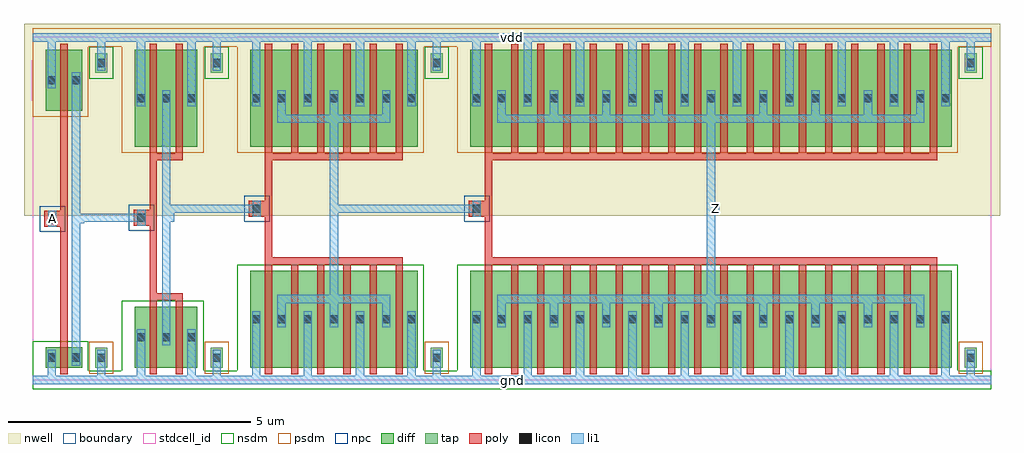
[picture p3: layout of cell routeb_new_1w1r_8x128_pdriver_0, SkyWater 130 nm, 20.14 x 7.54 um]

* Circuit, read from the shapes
.subckt routeb_new_1w1r_8x128_pdriver_0 A Z gnd vdd
XM1 routeb_new_1w1r_8x128_pinv_4_1/A A gnd gnd sky130_fd_pr__nfet_01v8 w=0.42 l=0.15
XM2 routeb_new_1w1r_8x128_pinv_5_2/A routeb_new_1w1r_8x128_pinv_4_1/A gnd gnd sky130_fd_pr__nfet_01v8 w=1.26 l=0.15 m=2
XM3 routeb_new_1w1r_8x128_pinv_6_3/A routeb_new_1w1r_8x128_pinv_5_2/A gnd gnd sky130_fd_pr__nfet_01v8 w=2 l=0.15 m=6
XM4 Z routeb_new_1w1r_8x128_pinv_6_3/A gnd gnd sky130_fd_pr__nfet_01v8 w=2 l=0.15 m=18
XM5 routeb_new_1w1r_8x128_pinv_4_1/A A vdd vdd sky130_fd_pr__pfet_01v8 w=1.26 l=0.15
XM6 routeb_new_1w1r_8x128_pinv_5_2/A routeb_new_1w1r_8x128_pinv_4_1/A vdd vdd sky130_fd_pr__pfet_01v8 w=2 l=0.15 m=2
XM7 routeb_new_1w1r_8x128_pinv_6_3/A routeb_new_1w1r_8x128_pinv_5_2/A vdd vdd sky130_fd_pr__pfet_01v8 w=2 l=0.15 m=6
XM8 Z routeb_new_1w1r_8x128_pinv_6_3/A vdd vdd sky130_fd_pr__pfet_01v8 w=2 l=0.15 m=18
.ends

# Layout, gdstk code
import gdstk
lib = gdstk.Library(unit=1e-6, precision=1e-09)
def R(c, l, rs):  # rectangles x0, y0, x1, y1
    for r in rs: c.add(gdstk.rectangle(r[:2], r[2:], *l))
def A(c, l, x, y, w, h, nx, ny, dx, dy):  # array of equal rectangles
    R(c, l, [(x+i*dx, y+j*dy, x+i*dx+w, y+j*dy+h) for i in range(nx) for j in range(ny)])
nwell = (64, 20)
diff = (65, 20)
tap = (65, 44)
poly = (66, 20)
licon = (66, 44)
li1 = (67, 20)
stdcell_id = (81, 4)
nsdm = (93, 44)
psdm = (94, 20)
npc = (95, 20)
boundary = (235, 4)

routeb_new_1w1r_8x128_co = lib.new_cell('routeb_new_1w1r_8x128_contact_11')
R(routeb_new_1w1r_8x128_co, nwell, [(-0.295,-0.255,0.545,0.585)])
R(routeb_new_1w1r_8x128_co, diff, [(0,0.02,0.25,0.31)])
R(routeb_new_1w1r_8x128_co, licon, [(0.04,0.08,0.21,0.25)])
R(routeb_new_1w1r_8x128_co, li1, [(0.04,0,0.21,0.33)])
R(routeb_new_1w1r_8x128_co, stdcell_id, [(-0.295,-0.255,0.545,0.585)])
R(routeb_new_1w1r_8x128_co, psdm, [(-0.125,-0.105,0.375,0.435)])
R(routeb_new_1w1r_8x128_co, boundary, [(-0.295,-0.255,0.545,0.585)])

routeb_new_1w1r_8x128_pm = lib.new_cell('routeb_new_1w1r_8x128_pmos_m1_w1_260_sli_dli_da_p')
R(routeb_new_1w1r_8x128_pm, nwell, [(-0.27,-0.27,1.02,1.53)])
R(routeb_new_1w1r_8x128_pm, diff, [(0,0,0.75,1.26)])
R(routeb_new_1w1r_8x128_pm, poly, [(0.3,-0.13,0.45,1.39), (0.3,-0.13,0.45,1.39)])
R(routeb_new_1w1r_8x128_pm, li1, [(0.04,0.465,0.21,0.795), (0.54,0.465,0.71,0.795)])
R(routeb_new_1w1r_8x128_pm, stdcell_id, [(-0.27,-0.27,1.02,1.53)])
R(routeb_new_1w1r_8x128_pm, psdm, [(-0.125,-0.125,0.875,1.385)])
R(routeb_new_1w1r_8x128_pm, boundary, [(-0.27,-0.27,1.02,1.53)])
routeb_new_1w1r_8x128_pm.add(gdstk.Reference(routeb_new_1w1r_8x128_co, (0,0.465)))
routeb_new_1w1r_8x128_pm.add(gdstk.Reference(routeb_new_1w1r_8x128_co, (0.5,0.465)))
routeb_new_1w1r_8x128_pm.add(gdstk.Label('G', (0.375,0.63), layer=66, texttype=5))
routeb_new_1w1r_8x128_pm.add(gdstk.Label('S', (0.125,0.63), layer=67, texttype=5))
routeb_new_1w1r_8x128_pm.add(gdstk.Label('D', (0.625,0.63), layer=67, texttype=5))

c_routeb_new_1w1r_8x128_co = lib.new_cell('routeb_new_1w1r_8x128_contact_10')
R(c_routeb_new_1w1r_8x128_co, diff, [(0,0.02,0.25,0.31)])
R(c_routeb_new_1w1r_8x128_co, licon, [(0.04,0.08,0.21,0.25)])
R(c_routeb_new_1w1r_8x128_co, li1, [(0.04,0,0.21,0.33)])
R(c_routeb_new_1w1r_8x128_co, stdcell_id, [(-0.125,-0.105,0.375,0.435)])
R(c_routeb_new_1w1r_8x128_co, nsdm, [(-0.125,-0.105,0.375,0.435)])
R(c_routeb_new_1w1r_8x128_co, boundary, [(-0.125,-0.105,0.375,0.435)])

routeb_new_1w1r_8x128_nm = lib.new_cell('routeb_new_1w1r_8x128_nmos_m1_w0_420_sli_dli_da_p')
R(routeb_new_1w1r_8x128_nm, diff, [(0,0,0.75,0.42)])
R(routeb_new_1w1r_8x128_nm, poly, [(0.3,-0.13,0.45,0.55), (0.3,-0.13,0.45,0.55)])
R(routeb_new_1w1r_8x128_nm, li1, [(0.04,0.045,0.21,0.375), (0.54,0.045,0.71,0.375)])
R(routeb_new_1w1r_8x128_nm, stdcell_id, [(-0.125,-0.13,0.875,0.55)])
R(routeb_new_1w1r_8x128_nm, nsdm, [(-0.125,-0.125,0.875,0.545)])
R(routeb_new_1w1r_8x128_nm, boundary, [(-0.125,-0.13,0.875,0.55)])
routeb_new_1w1r_8x128_nm.add(gdstk.Reference(c_routeb_new_1w1r_8x128_co, (0,0.045)))
routeb_new_1w1r_8x128_nm.add(gdstk.Reference(c_routeb_new_1w1r_8x128_co, (0.5,0.045)))
routeb_new_1w1r_8x128_nm.add(gdstk.Label('G', (0.375,0.21), layer=66, texttype=5))
routeb_new_1w1r_8x128_nm.add(gdstk.Label('S', (0.125,0.21), layer=67, texttype=5))
routeb_new_1w1r_8x128_nm.add(gdstk.Label('D', (0.625,0.21), layer=67, texttype=5))

c_routeb_new_1w1r_8x128_co_ = lib.new_cell('routeb_new_1w1r_8x128_contact_24')
R(c_routeb_new_1w1r_8x128_co_, nwell, [(-0.295,-0.215,0.545,0.625)])
R(c_routeb_new_1w1r_8x128_co_, tap, [(0,0,0.25,0.41)])
R(c_routeb_new_1w1r_8x128_co_, licon, [(0.04,0.12,0.21,0.29)])
R(c_routeb_new_1w1r_8x128_co_, li1, [(0.04,0.04,0.21,0.37)])
R(c_routeb_new_1w1r_8x128_co_, stdcell_id, [(-0.295,-0.215,0.545,0.625)])
R(c_routeb_new_1w1r_8x128_co_, nsdm, [(-0.125,-0.125,0.375,0.535)])
R(c_routeb_new_1w1r_8x128_co_, boundary, [(-0.295,-0.215,0.545,0.625)])

c_routeb_new_1w1r_8x128_co__ = lib.new_cell('routeb_new_1w1r_8x128_contact_25')
R(c_routeb_new_1w1r_8x128_co__, tap, [(0,0,0.25,0.41)])
R(c_routeb_new_1w1r_8x128_co__, licon, [(0.04,0.12,0.21,0.29)])
R(c_routeb_new_1w1r_8x128_co__, li1, [(0.04,0.04,0.21,0.37)])
R(c_routeb_new_1w1r_8x128_co__, stdcell_id, [(-0.125,-0.125,0.375,0.535)])
R(c_routeb_new_1w1r_8x128_co__, psdm, [(-0.125,-0.125,0.375,0.535)])
R(c_routeb_new_1w1r_8x128_co__, boundary, [(-0.125,-0.125,0.375,0.535)])

c_routeb_new_1w1r_8x128_co___ = lib.new_cell('routeb_new_1w1r_8x128_contact_15')
R(c_routeb_new_1w1r_8x128_co___, poly, [(0,0,0.33,0.33)])
R(c_routeb_new_1w1r_8x128_co___, licon, [(0.08,0.08,0.25,0.25)])
R(c_routeb_new_1w1r_8x128_co___, li1, [(0.08,0,0.25,0.33)])
R(c_routeb_new_1w1r_8x128_co___, stdcell_id, [(-0.1,-0.1,0.43,0.43)])
R(c_routeb_new_1w1r_8x128_co___, npc, [(-0.1,-0.1,0.43,0.43)])
R(c_routeb_new_1w1r_8x128_co___, boundary, [(-0.1,-0.1,0.43,0.43)])

routeb_new_1w1r_8x128_pi = lib.new_cell('routeb_new_1w1r_8x128_pinv_3')
R(routeb_new_1w1r_8x128_pi, nwell, [(-0.18,3.395,2.02,7.355)])
R(routeb_new_1w1r_8x128_pi, poly, [(0.57,0.805,0.72,5.425), (0.405,3.16,0.57,3.49)])
R(routeb_new_1w1r_8x128_pi, li1, [(0,-0.085,1.84,0.085), (0.31,-0.085,0.48,0.3), (1.33,0,1.5,0.46), (0.81,0.3,0.98,6.35), (0.32,3.16,0.49,3.49), (0.895,3.24,1.065,3.41), (0.31,6.02,0.48,7.155), (1.33,6.545,1.5,7.07), (0,6.985,1.84,7.155)])
R(routeb_new_1w1r_8x128_pi, stdcell_id, [(0,0,1.84,7.07), (0,0,1.84,7.07)])
R(routeb_new_1w1r_8x128_pi, nsdm, [(0,-0.19,1.84,0.19), (0,0,1.145,0.8)])
R(routeb_new_1w1r_8x128_pi, psdm, [(0,5.43,1.145,7.07), (0,6.88,1.84,7.26)])
R(routeb_new_1w1r_8x128_pi, boundary, [(0,0,1.84,7.07), (0,0,1.84,7.07)])
routeb_new_1w1r_8x128_pi.add(gdstk.Reference(routeb_new_1w1r_8x128_pm, (0.27,5.555)))
routeb_new_1w1r_8x128_pi.add(gdstk.Reference(routeb_new_1w1r_8x128_nm, (0.27,0.255)))
routeb_new_1w1r_8x128_pi.add(gdstk.Reference(c_routeb_new_1w1r_8x128_co_, (1.29,6.34)))
routeb_new_1w1r_8x128_pi.add(gdstk.Reference(c_routeb_new_1w1r_8x128_co__, (1.29,0.255)))
routeb_new_1w1r_8x128_pi.add(gdstk.Reference(c_routeb_new_1w1r_8x128_co___, (0.24,3.16)))
routeb_new_1w1r_8x128_pi.add(gdstk.Label('A', (0.405,3.325), layer=67, texttype=5))
routeb_new_1w1r_8x128_pi.add(gdstk.Label('Z', (0.98,3.325), layer=67, texttype=5))
routeb_new_1w1r_8x128_pi.add(gdstk.Label('gnd', (0.92,0), layer=67, texttype=5))
routeb_new_1w1r_8x128_pi.add(gdstk.Label('vdd', (0.92,7.07), layer=67, texttype=5))

c_routeb_new_1w1r_8x128_pm = lib.new_cell('routeb_new_1w1r_8x128_pmos_m2_w2_000_sli_dli_da_p')
R(c_routeb_new_1w1r_8x128_pm, nwell, [(-0.27,-0.27,1.56,2.27)])
R(c_routeb_new_1w1r_8x128_pm, diff, [(0,0,1.29,2)])
R(c_routeb_new_1w1r_8x128_pm, poly, [(0.3,-0.28,0.99,-0.13), (0.3,-0.13,0.45,2.13), (0.84,-0.13,0.99,2.13)])
A(c_routeb_new_1w1r_8x128_pm, li1, 0.04, 0.835, 0.17, 0.33, 3, 1, 0.52, 0)
R(c_routeb_new_1w1r_8x128_pm, stdcell_id, [(-0.27,-0.28,1.56,2.27)])
R(c_routeb_new_1w1r_8x128_pm, psdm, [(-0.125,-0.125,1.415,2.125)])
R(c_routeb_new_1w1r_8x128_pm, boundary, [(-0.27,-0.28,1.56,2.27)])
c_routeb_new_1w1r_8x128_pm.add(gdstk.Reference(routeb_new_1w1r_8x128_co, (0,0.835)))
c_routeb_new_1w1r_8x128_pm.add(gdstk.Reference(routeb_new_1w1r_8x128_co, (0.52,0.835)))
c_routeb_new_1w1r_8x128_pm.add(gdstk.Reference(routeb_new_1w1r_8x128_co, (1.04,0.835)))
c_routeb_new_1w1r_8x128_pm.add(gdstk.Label('G', (0.645,-0.205), layer=66, texttype=5))
c_routeb_new_1w1r_8x128_pm.add(gdstk.Label('S', (0.125,1), layer=67, texttype=5))
c_routeb_new_1w1r_8x128_pm.add(gdstk.Label('S', (1.165,1), layer=67, texttype=5))
c_routeb_new_1w1r_8x128_pm.add(gdstk.Label('D', (0.645,1), layer=67, texttype=5))

c_routeb_new_1w1r_8x128_nm = lib.new_cell('routeb_new_1w1r_8x128_nmos_m2_w1_260_sli_dli_da_p')
R(c_routeb_new_1w1r_8x128_nm, diff, [(0,0,1.29,1.26)])
R(c_routeb_new_1w1r_8x128_nm, poly, [(0.3,-0.13,0.45,1.39), (0.84,-0.13,0.99,1.39), (0.3,1.39,0.99,1.54)])
A(c_routeb_new_1w1r_8x128_nm, li1, 0.04, 0.465, 0.17, 0.33, 3, 1, 0.52, 0)
R(c_routeb_new_1w1r_8x128_nm, stdcell_id, [(-0.125,-0.13,1.415,1.54)])
R(c_routeb_new_1w1r_8x128_nm, nsdm, [(-0.125,-0.125,1.415,1.385)])
R(c_routeb_new_1w1r_8x128_nm, boundary, [(-0.125,-0.13,1.415,1.54)])
c_routeb_new_1w1r_8x128_nm.add(gdstk.Reference(c_routeb_new_1w1r_8x128_co, (0,0.465)))
c_routeb_new_1w1r_8x128_nm.add(gdstk.Reference(c_routeb_new_1w1r_8x128_co, (0.52,0.465)))
c_routeb_new_1w1r_8x128_nm.add(gdstk.Reference(c_routeb_new_1w1r_8x128_co, (1.04,0.465)))
c_routeb_new_1w1r_8x128_nm.add(gdstk.Label('G', (0.645,1.465), layer=66, texttype=5))
c_routeb_new_1w1r_8x128_nm.add(gdstk.Label('S', (0.125,0.63), layer=67, texttype=5))
c_routeb_new_1w1r_8x128_nm.add(gdstk.Label('S', (1.165,0.63), layer=67, texttype=5))
c_routeb_new_1w1r_8x128_nm.add(gdstk.Label('D', (0.645,0.63), layer=67, texttype=5))

c_routeb_new_1w1r_8x128_pi = lib.new_cell('routeb_new_1w1r_8x128_pinv_4')
R(c_routeb_new_1w1r_8x128_pi, nwell, [(-0.18,3.395,2.56,7.355)])
R(c_routeb_new_1w1r_8x128_pi, poly, [(0.57,1.795,0.72,4.535), (0.405,3.185,0.57,3.515)])
R(c_routeb_new_1w1r_8x128_pi, li1, [(0,-0.085,2.38,0.085), (0.31,-0.085,0.48,0.72), (1.35,-0.085,1.52,0.72), (1.87,0,2.04,0.46), (0.83,0.72,1,5.98), (0.32,3.185,0.49,3.515), (0.915,3.265,1.085,3.435), (0.31,5.65,0.48,7.155), (1.35,5.65,1.52,7.155), (1.87,6.545,2.04,7.07), (0,6.985,2.38,7.155)])
R(c_routeb_new_1w1r_8x128_pi, stdcell_id, [(0,0,2.38,7.07), (0,0,2.38,7.07)])
R(c_routeb_new_1w1r_8x128_pi, nsdm, [(0,-0.19,2.38,0.19), (0,0,1.685,1.64)])
R(c_routeb_new_1w1r_8x128_pi, psdm, [(0,4.69,1.685,7.07), (0,6.88,2.38,7.26)])
R(c_routeb_new_1w1r_8x128_pi, boundary, [(0,0,2.38,7.07), (0,0,2.38,7.07)])
c_routeb_new_1w1r_8x128_pi.add(gdstk.Reference(c_routeb_new_1w1r_8x128_pm, (0.27,4.815)))
c_routeb_new_1w1r_8x128_pi.add(gdstk.Reference(c_routeb_new_1w1r_8x128_nm, (0.27,0.255)))
c_routeb_new_1w1r_8x128_pi.add(gdstk.Reference(c_routeb_new_1w1r_8x128_co_, (1.83,6.34)))
c_routeb_new_1w1r_8x128_pi.add(gdstk.Reference(c_routeb_new_1w1r_8x128_co__, (1.83,0.255)))
c_routeb_new_1w1r_8x128_pi.add(gdstk.Reference(c_routeb_new_1w1r_8x128_co___, (0.24,3.185)))
c_routeb_new_1w1r_8x128_pi.add(gdstk.Label('A', (0.405,3.35), layer=67, texttype=5))
c_routeb_new_1w1r_8x128_pi.add(gdstk.Label('Z', (1,3.35), layer=67, texttype=5))
c_routeb_new_1w1r_8x128_pi.add(gdstk.Label('gnd', (1.19,0), layer=67, texttype=5))
c_routeb_new_1w1r_8x128_pi.add(gdstk.Label('vdd', (1.19,7.07), layer=67, texttype=5))

c_routeb_new_1w1r_8x128_pm_ = lib.new_cell('routeb_new_1w1r_8x128_pmos_m6_w2_000_sli_dli_da_p')
R(c_routeb_new_1w1r_8x128_pm_, nwell, [(-0.27,-0.27,3.72,2.27)])
R(c_routeb_new_1w1r_8x128_pm_, diff, [(0,0,3.45,2)])
A(c_routeb_new_1w1r_8x128_pm_, poly, 0.3, -0.13, 0.15, 2.26, 6, 1, 0.54, 0)
R(c_routeb_new_1w1r_8x128_pm_, poly, [(0.3,-0.28,3.15,-0.13)])
A(c_routeb_new_1w1r_8x128_pm_, li1, 0.56, 0.58, 0.17, 0.42, 3, 1, 1.08, 0)
R(c_routeb_new_1w1r_8x128_pm_, li1, [(0.56,0.495,2.89,0.665), (0.04,0.835,0.21,1.165), (1.1,0.835,1.27,1.165), (2.18,0.835,2.35,1.165), (3.24,0.835,3.41,1.165)])
R(c_routeb_new_1w1r_8x128_pm_, stdcell_id, [(-0.27,-0.28,3.72,2.27)])
R(c_routeb_new_1w1r_8x128_pm_, psdm, [(-0.125,-0.125,3.575,2.125)])
R(c_routeb_new_1w1r_8x128_pm_, boundary, [(-0.27,-0.28,3.72,2.27)])
c_routeb_new_1w1r_8x128_pm_.add(gdstk.Reference(routeb_new_1w1r_8x128_co, (0,0.835)))
c_routeb_new_1w1r_8x128_pm_.add(gdstk.Reference(routeb_new_1w1r_8x128_co, (0.52,0.835)))
c_routeb_new_1w1r_8x128_pm_.add(gdstk.Reference(routeb_new_1w1r_8x128_co, (1.06,0.835)))
c_routeb_new_1w1r_8x128_pm_.add(gdstk.Reference(routeb_new_1w1r_8x128_co, (1.6,0.835)))
c_routeb_new_1w1r_8x128_pm_.add(gdstk.Reference(routeb_new_1w1r_8x128_co, (2.14,0.835)))
c_routeb_new_1w1r_8x128_pm_.add(gdstk.Reference(routeb_new_1w1r_8x128_co, (2.68,0.835)))
c_routeb_new_1w1r_8x128_pm_.add(gdstk.Reference(routeb_new_1w1r_8x128_co, (3.2,0.835)))
c_routeb_new_1w1r_8x128_pm_.add(gdstk.Label('G', (1.725,-0.205), layer=66, texttype=5))
c_routeb_new_1w1r_8x128_pm_.add(gdstk.Label('S', (0.125,1), layer=67, texttype=5))
c_routeb_new_1w1r_8x128_pm_.add(gdstk.Label('S', (3.325,1), layer=67, texttype=5))
c_routeb_new_1w1r_8x128_pm_.add(gdstk.Label('S', (1.185,1), layer=67, texttype=5))
c_routeb_new_1w1r_8x128_pm_.add(gdstk.Label('S', (2.265,1), layer=67, texttype=5))
c_routeb_new_1w1r_8x128_pm_.add(gdstk.Label('D', (1.725,0.58), layer=67, texttype=5))

c_routeb_new_1w1r_8x128_nm_ = lib.new_cell('routeb_new_1w1r_8x128_nmos_m6_w2_000_sli_dli_da_p')
R(c_routeb_new_1w1r_8x128_nm_, diff, [(0,0,3.45,2)])
A(c_routeb_new_1w1r_8x128_nm_, poly, 0.3, -0.13, 0.15, 2.26, 6, 1, 0.54, 0)
R(c_routeb_new_1w1r_8x128_nm_, poly, [(0.3,2.13,3.15,2.28)])
A(c_routeb_new_1w1r_8x128_nm_, li1, 0.56, 1, 0.17, 0.42, 3, 1, 1.08, 0)
R(c_routeb_new_1w1r_8x128_nm_, li1, [(0.04,0.835,0.21,1.165), (1.1,0.835,1.27,1.165), (2.18,0.835,2.35,1.165), (3.24,0.835,3.41,1.165), (0.56,1.335,2.89,1.505)])
R(c_routeb_new_1w1r_8x128_nm_, stdcell_id, [(-0.125,-0.13,3.575,2.28)])
R(c_routeb_new_1w1r_8x128_nm_, nsdm, [(-0.125,-0.125,3.575,2.125)])
R(c_routeb_new_1w1r_8x128_nm_, boundary, [(-0.125,-0.13,3.575,2.28)])
c_routeb_new_1w1r_8x128_nm_.add(gdstk.Reference(c_routeb_new_1w1r_8x128_co, (0,0.835)))
c_routeb_new_1w1r_8x128_nm_.add(gdstk.Reference(c_routeb_new_1w1r_8x128_co, (0.52,0.835)))
c_routeb_new_1w1r_8x128_nm_.add(gdstk.Reference(c_routeb_new_1w1r_8x128_co, (1.06,0.835)))
c_routeb_new_1w1r_8x128_nm_.add(gdstk.Reference(c_routeb_new_1w1r_8x128_co, (1.6,0.835)))
c_routeb_new_1w1r_8x128_nm_.add(gdstk.Reference(c_routeb_new_1w1r_8x128_co, (2.14,0.835)))
c_routeb_new_1w1r_8x128_nm_.add(gdstk.Reference(c_routeb_new_1w1r_8x128_co, (2.68,0.835)))
c_routeb_new_1w1r_8x128_nm_.add(gdstk.Reference(c_routeb_new_1w1r_8x128_co, (3.2,0.835)))
c_routeb_new_1w1r_8x128_nm_.add(gdstk.Label('G', (1.725,2.205), layer=66, texttype=5))
c_routeb_new_1w1r_8x128_nm_.add(gdstk.Label('S', (0.125,1), layer=67, texttype=5))
c_routeb_new_1w1r_8x128_nm_.add(gdstk.Label('S', (3.325,1), layer=67, texttype=5))
c_routeb_new_1w1r_8x128_nm_.add(gdstk.Label('S', (1.185,1), layer=67, texttype=5))
c_routeb_new_1w1r_8x128_nm_.add(gdstk.Label('S', (2.265,1), layer=67, texttype=5))
c_routeb_new_1w1r_8x128_nm_.add(gdstk.Label('D', (1.725,1.42), layer=67, texttype=5))

c_routeb_new_1w1r_8x128_pi_ = lib.new_cell('routeb_new_1w1r_8x128_pinv_5')
R(c_routeb_new_1w1r_8x128_pi_, nwell, [(-0.18,3.395,4.72,7.355)])
R(c_routeb_new_1w1r_8x128_pi_, poly, [(0.57,2.535,0.72,4.535), (0.405,3.37,0.57,3.7)])
R(c_routeb_new_1w1r_8x128_pi_, li1, [(0,-0.085,4.54,0.085), (0.31,-0.085,0.48,1.09), (1.37,-0.085,1.54,1.09), (2.45,-0.085,2.62,1.09), (3.51,-0.085,3.68,1.09), (4.03,0,4.2,0.46), (1.91,1.59,2.08,5.48), (0.32,3.37,0.49,3.7), (1.995,3.45,2.165,3.62), (0.31,5.65,0.48,7.155), (1.37,5.65,1.54,7.155), (2.45,5.65,2.62,7.155), (3.51,5.65,3.68,7.155), (4.03,6.545,4.2,7.07), (0,6.985,4.54,7.155)])
R(c_routeb_new_1w1r_8x128_pi_, stdcell_id, [(0,0,4.54,7.07), (0,0,4.54,7.07)])
R(c_routeb_new_1w1r_8x128_pi_, nsdm, [(0,-0.19,4.54,0.19), (0,0,3.845,2.38)])
R(c_routeb_new_1w1r_8x128_pi_, psdm, [(0,4.69,3.845,7.07), (0,6.88,4.54,7.26)])
R(c_routeb_new_1w1r_8x128_pi_, boundary, [(0,0,4.54,7.07), (0,0,4.54,7.07)])
c_routeb_new_1w1r_8x128_pi_.add(gdstk.Reference(c_routeb_new_1w1r_8x128_pm_, (0.27,4.815)))
c_routeb_new_1w1r_8x128_pi_.add(gdstk.Reference(c_routeb_new_1w1r_8x128_nm_, (0.27,0.255)))
c_routeb_new_1w1r_8x128_pi_.add(gdstk.Reference(c_routeb_new_1w1r_8x128_co_, (3.99,6.34)))
c_routeb_new_1w1r_8x128_pi_.add(gdstk.Reference(c_routeb_new_1w1r_8x128_co__, (3.99,0.255)))
c_routeb_new_1w1r_8x128_pi_.add(gdstk.Reference(c_routeb_new_1w1r_8x128_co___, (0.24,3.37)))
c_routeb_new_1w1r_8x128_pi_.add(gdstk.Label('A', (0.405,3.535), layer=67, texttype=5))
c_routeb_new_1w1r_8x128_pi_.add(gdstk.Label('Z', (2.08,3.535), layer=67, texttype=5))
c_routeb_new_1w1r_8x128_pi_.add(gdstk.Label('gnd', (2.27,0), layer=67, texttype=5))
c_routeb_new_1w1r_8x128_pi_.add(gdstk.Label('vdd', (2.27,7.07), layer=67, texttype=5))

c_routeb_new_1w1r_8x128_pm__ = lib.new_cell('routeb_new_1w1r_8x128_pmos_m18_w2_000_sli_dli_da_p')
R(c_routeb_new_1w1r_8x128_pm__, nwell, [(-0.27,-0.27,10.2,2.27)])
R(c_routeb_new_1w1r_8x128_pm__, diff, [(0,0,9.93,2)])
A(c_routeb_new_1w1r_8x128_pm__, poly, 0.3, -0.13, 0.15, 2.26, 18, 1, 0.54, 0)
R(c_routeb_new_1w1r_8x128_pm__, poly, [(0.3,-0.28,9.63,-0.13)])
A(c_routeb_new_1w1r_8x128_pm__, li1, 0.56, 0.58, 0.17, 0.42, 9, 1, 1.08, 0)
A(c_routeb_new_1w1r_8x128_pm__, li1, 1.1, 0.835, 0.17, 0.33, 8, 1, 1.08, 0)
R(c_routeb_new_1w1r_8x128_pm__, li1, [(0.56,0.495,9.37,0.665), (0.04,0.835,0.21,1.165), (9.72,0.835,9.89,1.165)])
R(c_routeb_new_1w1r_8x128_pm__, stdcell_id, [(-0.27,-0.28,10.2,2.27)])
R(c_routeb_new_1w1r_8x128_pm__, psdm, [(-0.125,-0.125,10.055,2.125)])
R(c_routeb_new_1w1r_8x128_pm__, boundary, [(-0.27,-0.28,10.2,2.27)])
c_routeb_new_1w1r_8x128_pm__.add(gdstk.Reference(routeb_new_1w1r_8x128_co, (0,0.835)))
c_routeb_new_1w1r_8x128_pm__.add(gdstk.Reference(routeb_new_1w1r_8x128_co, (0.52,0.835)))
c_routeb_new_1w1r_8x128_pm__.add(gdstk.Reference(routeb_new_1w1r_8x128_co, (1.06,0.835)))
c_routeb_new_1w1r_8x128_pm__.add(gdstk.Reference(routeb_new_1w1r_8x128_co, (1.6,0.835)))
c_routeb_new_1w1r_8x128_pm__.add(gdstk.Reference(routeb_new_1w1r_8x128_co, (2.14,0.835)))
c_routeb_new_1w1r_8x128_pm__.add(gdstk.Reference(routeb_new_1w1r_8x128_co, (2.68,0.835)))
c_routeb_new_1w1r_8x128_pm__.add(gdstk.Reference(routeb_new_1w1r_8x128_co, (3.22,0.835)))
c_routeb_new_1w1r_8x128_pm__.add(gdstk.Reference(routeb_new_1w1r_8x128_co, (3.76,0.835)))
c_routeb_new_1w1r_8x128_pm__.add(gdstk.Reference(routeb_new_1w1r_8x128_co, (4.3,0.835)))
c_routeb_new_1w1r_8x128_pm__.add(gdstk.Reference(routeb_new_1w1r_8x128_co, (4.84,0.835)))
c_routeb_new_1w1r_8x128_pm__.add(gdstk.Reference(routeb_new_1w1r_8x128_co, (5.38,0.835)))
c_routeb_new_1w1r_8x128_pm__.add(gdstk.Reference(routeb_new_1w1r_8x128_co, (5.92,0.835)))
c_routeb_new_1w1r_8x128_pm__.add(gdstk.Reference(routeb_new_1w1r_8x128_co, (6.46,0.835)))
c_routeb_new_1w1r_8x128_pm__.add(gdstk.Reference(routeb_new_1w1r_8x128_co, (7,0.835)))
c_routeb_new_1w1r_8x128_pm__.add(gdstk.Reference(routeb_new_1w1r_8x128_co, (7.54,0.835)))
c_routeb_new_1w1r_8x128_pm__.add(gdstk.Reference(routeb_new_1w1r_8x128_co, (8.08,0.835)))
c_routeb_new_1w1r_8x128_pm__.add(gdstk.Reference(routeb_new_1w1r_8x128_co, (8.62,0.835)))
c_routeb_new_1w1r_8x128_pm__.add(gdstk.Reference(routeb_new_1w1r_8x128_co, (9.16,0.835)))
c_routeb_new_1w1r_8x128_pm__.add(gdstk.Reference(routeb_new_1w1r_8x128_co, (9.68,0.835)))
c_routeb_new_1w1r_8x128_pm__.add(gdstk.Label('G', (4.965,-0.205), layer=66, texttype=5))
c_routeb_new_1w1r_8x128_pm__.add(gdstk.Label('S', (0.125,1), layer=67, texttype=5))
c_routeb_new_1w1r_8x128_pm__.add(gdstk.Label('S', (2.265,1), layer=67, texttype=5))
c_routeb_new_1w1r_8x128_pm__.add(gdstk.Label('S', (5.505,1), layer=67, texttype=5))
c_routeb_new_1w1r_8x128_pm__.add(gdstk.Label('S', (7.665,1), layer=67, texttype=5))
c_routeb_new_1w1r_8x128_pm__.add(gdstk.Label('S', (9.805,1), layer=67, texttype=5))
c_routeb_new_1w1r_8x128_pm__.add(gdstk.Label('S', (6.585,1), layer=67, texttype=5))
c_routeb_new_1w1r_8x128_pm__.add(gdstk.Label('S', (8.745,1), layer=67, texttype=5))
c_routeb_new_1w1r_8x128_pm__.add(gdstk.Label('S', (3.345,1), layer=67, texttype=5))
c_routeb_new_1w1r_8x128_pm__.add(gdstk.Label('S', (1.185,1), layer=67, texttype=5))
c_routeb_new_1w1r_8x128_pm__.add(gdstk.Label('S', (4.425,1), layer=67, texttype=5))
c_routeb_new_1w1r_8x128_pm__.add(gdstk.Label('D', (4.965,0.58), layer=67, texttype=5))

c_routeb_new_1w1r_8x128_nm__ = lib.new_cell('routeb_new_1w1r_8x128_nmos_m18_w2_000_sli_dli_da_p')
R(c_routeb_new_1w1r_8x128_nm__, diff, [(0,0,9.93,2)])
A(c_routeb_new_1w1r_8x128_nm__, poly, 0.3, -0.13, 0.15, 2.26, 18, 1, 0.54, 0)
R(c_routeb_new_1w1r_8x128_nm__, poly, [(0.3,2.13,9.63,2.28)])
A(c_routeb_new_1w1r_8x128_nm__, li1, 1.1, 0.835, 0.17, 0.33, 8, 1, 1.08, 0)
A(c_routeb_new_1w1r_8x128_nm__, li1, 0.56, 1, 0.17, 0.42, 9, 1, 1.08, 0)
R(c_routeb_new_1w1r_8x128_nm__, li1, [(0.04,0.835,0.21,1.165), (9.72,0.835,9.89,1.165), (0.56,1.335,9.37,1.505)])
R(c_routeb_new_1w1r_8x128_nm__, stdcell_id, [(-0.125,-0.13,10.055,2.28)])
R(c_routeb_new_1w1r_8x128_nm__, nsdm, [(-0.125,-0.125,10.055,2.125)])
R(c_routeb_new_1w1r_8x128_nm__, boundary, [(-0.125,-0.13,10.055,2.28)])
c_routeb_new_1w1r_8x128_nm__.add(gdstk.Reference(c_routeb_new_1w1r_8x128_co, (0,0.835)))
c_routeb_new_1w1r_8x128_nm__.add(gdstk.Reference(c_routeb_new_1w1r_8x128_co, (0.52,0.835)))
c_routeb_new_1w1r_8x128_nm__.add(gdstk.Reference(c_routeb_new_1w1r_8x128_co, (1.06,0.835)))
c_routeb_new_1w1r_8x128_nm__.add(gdstk.Reference(c_routeb_new_1w1r_8x128_co, (1.6,0.835)))
c_routeb_new_1w1r_8x128_nm__.add(gdstk.Reference(c_routeb_new_1w1r_8x128_co, (2.14,0.835)))
c_routeb_new_1w1r_8x128_nm__.add(gdstk.Reference(c_routeb_new_1w1r_8x128_co, (2.68,0.835)))
c_routeb_new_1w1r_8x128_nm__.add(gdstk.Reference(c_routeb_new_1w1r_8x128_co, (3.22,0.835)))
c_routeb_new_1w1r_8x128_nm__.add(gdstk.Reference(c_routeb_new_1w1r_8x128_co, (3.76,0.835)))
c_routeb_new_1w1r_8x128_nm__.add(gdstk.Reference(c_routeb_new_1w1r_8x128_co, (4.3,0.835)))
c_routeb_new_1w1r_8x128_nm__.add(gdstk.Reference(c_routeb_new_1w1r_8x128_co, (4.84,0.835)))
c_routeb_new_1w1r_8x128_nm__.add(gdstk.Reference(c_routeb_new_1w1r_8x128_co, (5.38,0.835)))
c_routeb_new_1w1r_8x128_nm__.add(gdstk.Reference(c_routeb_new_1w1r_8x128_co, (5.92,0.835)))
c_routeb_new_1w1r_8x128_nm__.add(gdstk.Reference(c_routeb_new_1w1r_8x128_co, (6.46,0.835)))
c_routeb_new_1w1r_8x128_nm__.add(gdstk.Reference(c_routeb_new_1w1r_8x128_co, (7,0.835)))
c_routeb_new_1w1r_8x128_nm__.add(gdstk.Reference(c_routeb_new_1w1r_8x128_co, (7.54,0.835)))
c_routeb_new_1w1r_8x128_nm__.add(gdstk.Reference(c_routeb_new_1w1r_8x128_co, (8.08,0.835)))
c_routeb_new_1w1r_8x128_nm__.add(gdstk.Reference(c_routeb_new_1w1r_8x128_co, (8.62,0.835)))
c_routeb_new_1w1r_8x128_nm__.add(gdstk.Reference(c_routeb_new_1w1r_8x128_co, (9.16,0.835)))
c_routeb_new_1w1r_8x128_nm__.add(gdstk.Reference(c_routeb_new_1w1r_8x128_co, (9.68,0.835)))
c_routeb_new_1w1r_8x128_nm__.add(gdstk.Label('G', (4.965,2.205), layer=66, texttype=5))
c_routeb_new_1w1r_8x128_nm__.add(gdstk.Label('S', (0.125,1), layer=67, texttype=5))
c_routeb_new_1w1r_8x128_nm__.add(gdstk.Label('S', (2.265,1), layer=67, texttype=5))
c_routeb_new_1w1r_8x128_nm__.add(gdstk.Label('S', (5.505,1), layer=67, texttype=5))
c_routeb_new_1w1r_8x128_nm__.add(gdstk.Label('S', (7.665,1), layer=67, texttype=5))
c_routeb_new_1w1r_8x128_nm__.add(gdstk.Label('S', (9.805,1), layer=67, texttype=5))
c_routeb_new_1w1r_8x128_nm__.add(gdstk.Label('S', (6.585,1), layer=67, texttype=5))
c_routeb_new_1w1r_8x128_nm__.add(gdstk.Label('S', (8.745,1), layer=67, texttype=5))
c_routeb_new_1w1r_8x128_nm__.add(gdstk.Label('S', (3.345,1), layer=67, texttype=5))
c_routeb_new_1w1r_8x128_nm__.add(gdstk.Label('S', (1.185,1), layer=67, texttype=5))
c_routeb_new_1w1r_8x128_nm__.add(gdstk.Label('S', (4.425,1), layer=67, texttype=5))
c_routeb_new_1w1r_8x128_nm__.add(gdstk.Label('D', (4.965,1.42), layer=67, texttype=5))

c_routeb_new_1w1r_8x128_pi__ = lib.new_cell('routeb_new_1w1r_8x128_pinv_6')
R(c_routeb_new_1w1r_8x128_pi__, nwell, [(-0.18,3.395,11.2,7.355)])
R(c_routeb_new_1w1r_8x128_pi__, poly, [(0.57,2.535,0.72,4.535), (0.405,3.37,0.57,3.7)])
A(c_routeb_new_1w1r_8x128_pi__, li1, 1.37, -0.085, 0.17, 1.175, 8, 1, 1.08, 0)
A(c_routeb_new_1w1r_8x128_pi__, li1, 1.37, 5.65, 0.17, 1.505, 8, 1, 1.08, 0)
R(c_routeb_new_1w1r_8x128_pi__, li1, [(0,-0.085,11.02,0.085), (0.31,-0.085,0.48,1.09), (9.99,-0.085,10.16,1.09), (10.51,0,10.68,0.46), (5.15,1.59,5.32,5.48), (0.32,3.37,0.49,3.7), (5.235,3.45,5.405,3.62), (0.31,5.65,0.48,7.155), (9.99,5.65,10.16,7.155), (10.51,6.545,10.68,7.07), (0,6.985,11.02,7.155)])
R(c_routeb_new_1w1r_8x128_pi__, stdcell_id, [(0,0,11.02,7.07), (0,0,11.02,7.07)])
R(c_routeb_new_1w1r_8x128_pi__, nsdm, [(0,-0.19,11.02,0.19), (0,0,10.325,2.38)])
R(c_routeb_new_1w1r_8x128_pi__, psdm, [(0,4.69,10.325,7.07), (0,6.88,11.02,7.26)])
R(c_routeb_new_1w1r_8x128_pi__, boundary, [(0,0,11.02,7.07), (0,0,11.02,7.07)])
c_routeb_new_1w1r_8x128_pi__.add(gdstk.Reference(c_routeb_new_1w1r_8x128_pm__, (0.27,4.815)))
c_routeb_new_1w1r_8x128_pi__.add(gdstk.Reference(c_routeb_new_1w1r_8x128_nm__, (0.27,0.255)))
c_routeb_new_1w1r_8x128_pi__.add(gdstk.Reference(c_routeb_new_1w1r_8x128_co_, (10.47,6.34)))
c_routeb_new_1w1r_8x128_pi__.add(gdstk.Reference(c_routeb_new_1w1r_8x128_co__, (10.47,0.255)))
c_routeb_new_1w1r_8x128_pi__.add(gdstk.Reference(c_routeb_new_1w1r_8x128_co___, (0.24,3.37)))
c_routeb_new_1w1r_8x128_pi__.add(gdstk.Label('A', (0.405,3.535), layer=67, texttype=5))
c_routeb_new_1w1r_8x128_pi__.add(gdstk.Label('Z', (5.32,3.535), layer=67, texttype=5))
c_routeb_new_1w1r_8x128_pi__.add(gdstk.Label('gnd', (5.51,0), layer=67, texttype=5))
c_routeb_new_1w1r_8x128_pi__.add(gdstk.Label('vdd', (5.51,7.07), layer=67, texttype=5))

routeb_new_1w1r_8x128_pd = lib.new_cell('routeb_new_1w1r_8x128_pdriver_0')
R(routeb_new_1w1r_8x128_pd, nwell, [(-0.18,3.395,19.96,7.355)])
R(routeb_new_1w1r_8x128_pd, li1, [(0,-0.085,19.78,0.085), (0.32,3.16,0.49,3.49), (0.895,3.265,1.065,3.435), (0.98,3.265,2.245,3.435), (0.895,3.325,1.065,3.35), (2.755,3.35,2.925,3.535), (2.755,3.45,2.925,3.62), (2.84,3.45,4.625,3.62), (6.3,3.45,9.165,3.62), (13.995,3.45,14.165,3.62), (0,6.985,19.78,7.155)])
R(routeb_new_1w1r_8x128_pd, stdcell_id, [(0,0,19.78,7.07), (0,0,19.78,7.07)])
R(routeb_new_1w1r_8x128_pd, nsdm, [(0,-0.19,19.78,0.19)])
R(routeb_new_1w1r_8x128_pd, psdm, [(0,6.88,19.78,7.26)])
R(routeb_new_1w1r_8x128_pd, boundary, [(0,0,19.78,7.07), (0,0,19.78,7.07)])
routeb_new_1w1r_8x128_pd.add(gdstk.Reference(routeb_new_1w1r_8x128_pi, (0,0)))
routeb_new_1w1r_8x128_pd.add(gdstk.Reference(c_routeb_new_1w1r_8x128_pi, (1.84,0)))
routeb_new_1w1r_8x128_pd.add(gdstk.Reference(c_routeb_new_1w1r_8x128_pi_, (4.22,0)))
routeb_new_1w1r_8x128_pd.add(gdstk.Reference(c_routeb_new_1w1r_8x128_pi__, (8.76,0)))
routeb_new_1w1r_8x128_pd.add(gdstk.Label('Z', (14.08,3.535), layer=67, texttype=5))
routeb_new_1w1r_8x128_pd.add(gdstk.Label('A', (0.405,3.325), layer=67, texttype=5))
routeb_new_1w1r_8x128_pd.add(gdstk.Label('gnd', (9.89,0), layer=67, texttype=5))
routeb_new_1w1r_8x128_pd.add(gdstk.Label('vdd', (9.89,7.07), layer=67, texttype=5))

lib.write_gds('routeb_new_1w1r_8x128_pdriver_0.gds')
